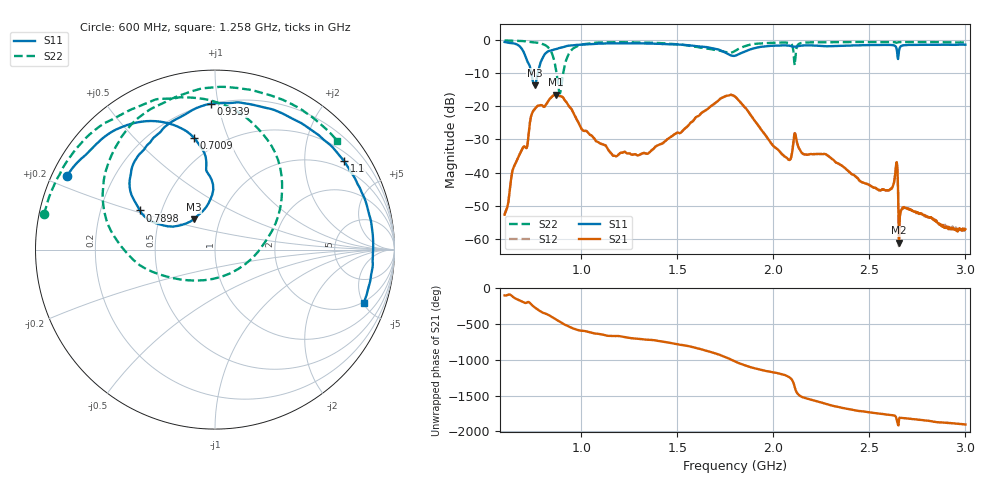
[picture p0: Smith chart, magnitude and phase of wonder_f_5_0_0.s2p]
#  HZ  S  RI  R  50.00
! Rohde & Schwarz ZVB8 2Ports - Version 2.81 - 1145.1010k08 SN: 100113
! Date: 2016-05-12 03:16:17
! Measurements: S11 S21 S12 S22
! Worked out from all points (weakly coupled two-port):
!   1000 points, 600 MHz to 3 GHz, reference 50 ohm
!   highest |S21| = -16.61 dB at 869.1 MHz (marker M1); lowest = -61.1 dB at 2.654 GHz (marker M2)
!   lowest |S11| = -13.7 dB at 756.2 MHz (marker M3), VSWR 1.52, Z = 37.5 + j13.2 ohm
!   |S11| at or under -10 dB: 738.4 MHz to 773 MHz (34.66 MHz wide, 4.59 % of centre)
!   |S22| runs from -16.2 to -0.2 dB; largest |S21 - S12| = 0.0012
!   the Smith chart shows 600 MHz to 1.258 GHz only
!   S11 on the Smith chart (normalised r, x): 600 MHz: 0.04, +0.23; 700.9 MHz: 0.36, +0.76; 789.8 MHz: 0.38, +0.21; 933.9 MHz: 0.20, +0.95; 1.1 GHz: 0.74, +3.07; 1.258 GHz: 1.89, -5.04
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6e8  -0.8269 0.4082  -0.000427 -0.00227  -0.0005 -0.00224  -0.9524 0.1962
7.009009e8  -0.1183 0.6242  -0.0234 0.00802  -0.0232 0.00854  -0.7091 0.6319
7.561562e8  -0.1177 0.1692  -0.00536 0.0894  -0.00544 0.0894  -0.4487 0.7878
7.897898e8  -0.4193 0.2185  0.0883 0.0541  0.0877 0.0541  -0.2146 0.845
8.690691e8  -0.3053 0.654  0.0272 -0.1453  0.0267 -0.1452  0.3173 0.1036
8.906907e8  -0.227 0.7207  -0.0531 -0.1307  -0.0532 -0.1307  -0.011 -0.1632
9.339339e8  -0.0248 0.8123  -0.0998 -0.00938  -0.1002 -0.00952  -0.5931 0.1325
1.001201e9  0.3158 0.7825  -0.027 0.0361  -0.027 0.036  -0.4513 0.7127
1.0997e9  0.7199 0.4927  0.00565 0.0267  0.00569 0.0266  0.0528 0.9066
1.258258e9  0.8287 -0.2984  0.0172 0.0073  0.0172 0.00735  0.6807 0.6063
1.4e9  0.3504 -0.791  0.0247 -0.00726  0.0249 -0.00727  0.8878 0.0676
1.637838e9  -0.5716 -0.5261  -0.0668 -0.0494  -0.0668 -0.0495  0.4632 -0.5814
1.801201e9  -0.5607 -0.119  0.0776 0.1144  0.0777 0.1147  0.2722 -0.6244
1.976577e9  -0.7184 0.3615  0.00286 -0.0309  0.00288 -0.0309  -0.2089 -0.8646
2.103904e9  -0.3556 0.6989  -0.0154 0.0236  -0.0153 0.0237  -0.5746 -0.3576
2.2e9  -0.0228 0.818  -0.00957 -0.0163  -0.00949 -0.0164  -0.6819 -0.6047
2.445045e9  0.7538 0.3249  0.00061 0.00775  0.000573 0.00782  -0.9202 -0.0602
2.601201e9  0.75 -0.3632  0.00463 0.00284  0.00463 0.00287  -0.8714 0.2946
2.637237e9  0.5738 -0.537  0.0114 0.00119  0.0114 0.00123  -0.8294 0.3661
2.654054e9  0.6084 -0.2857  0.000638 -0.000601  0.000582 -0.000517  -0.831 0.3862
2.798198e9  0.1756 -0.818  0.00141 -0.00166  0.00146 -0.00164  -0.6352 0.6621
3e9  -0.5342 -0.6476  -0.000329 -0.00137  -0.000315 -0.00127  -0.2076 0.8819
